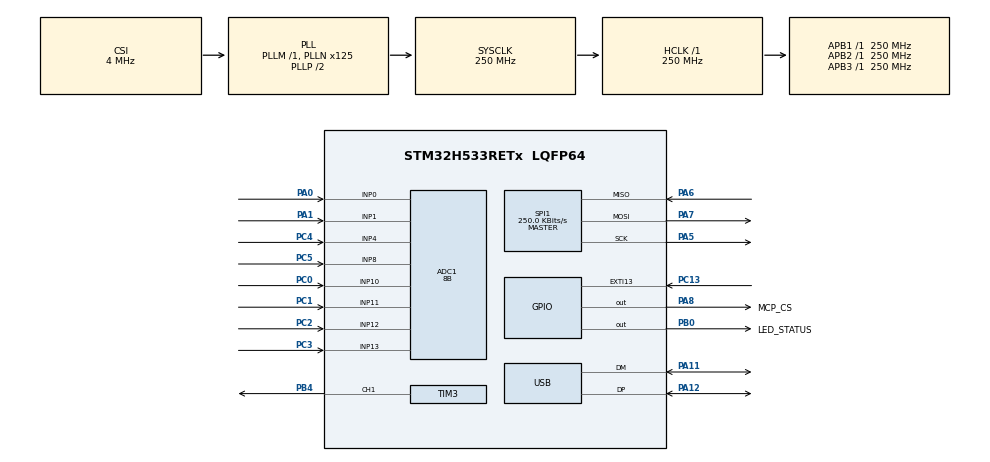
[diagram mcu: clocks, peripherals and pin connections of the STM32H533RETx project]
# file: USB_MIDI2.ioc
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ADC1.Channel-0\#ChannelRegularConversion=ADC_CHANNEL_0
ADC1.Channel-1\#ChannelRegularConversion=ADC_CHANNEL_1
ADC1.Channel-2\#ChannelRegularConversion=ADC_CHANNEL_4
ADC1.Channel-3\#ChannelRegularConversion=ADC_CHANNEL_8
ADC1.Channel-4\#ChannelRegularConversion=ADC_CHANNEL_10
ADC1.Channel-5\#ChannelRegularConversion=ADC_CHANNEL_11
ADC1.Channel-6\#ChannelRegularConversion=ADC_CHANNEL_12
ADC1.Channel-7\#ChannelRegularConversion=ADC_CHANNEL_13
ADC1.DMAContinuousRequests=ENABLE
ADC1.ExternalTrigConv=ADC_EXTERNALTRIG_T6_TRGO
ADC1.MonitoredBy-0\#ChannelRegularConversion=__NULL
ADC1.MonitoredBy-1\#ChannelRegularConversion=__NULL
ADC1.MonitoredBy-2\#ChannelRegularConversion=__NULL
ADC1.MonitoredBy-3\#ChannelRegularConversion=__NULL
ADC1.MonitoredBy-4\#ChannelRegularConversion=__NULL
ADC1.MonitoredBy-5\#ChannelRegularConversion=__NULL
ADC1.MonitoredBy-6\#ChannelRegularConversion=__NULL
ADC1.MonitoredBy-7\#ChannelRegularConversion=__NULL
ADC1.NbrOfConversion=8
ADC1.NbrOfConversionFlag=1
ADC1.OffsetNumber-0\#ChannelRegularConversion=ADC_OFFSET_NONE
ADC1.OffsetNumber-1\#ChannelRegularConversion=ADC_OFFSET_NONE
ADC1.OffsetNumber-2\#ChannelRegularConversion=ADC_OFFSET_NONE
ADC1.OffsetNumber-3\#ChannelRegularConversion=ADC_OFFSET_NONE
ADC1.OffsetNumber-4\#ChannelRegularConversion=ADC_OFFSET_NONE
ADC1.OffsetNumber-5\#ChannelRegularConversion=ADC_OFFSET_NONE
ADC1.OffsetNumber-6\#ChannelRegularConversion=ADC_OFFSET_NONE
ADC1.OffsetNumber-7\#ChannelRegularConversion=ADC_OFFSET_NONE
ADC1.Rank-0\#ChannelRegularConversion=1
ADC1.Rank-1\#ChannelRegularConversion=2
ADC1.Rank-2\#ChannelRegularConversion=3
ADC1.Rank-3\#ChannelRegularConversion=4
ADC1.Rank-4\#ChannelRegularConversion=5
ADC1.Rank-5\#ChannelRegularConversion=6
ADC1.Rank-6\#ChannelRegularConversion=7
ADC1.Rank-7\#ChannelRegularConversion=8
ADC1.Resolution=ADC_RESOLUTION_8B
ADC1.SamplingTime-0\#ChannelRegularConversion=ADC_SAMPLETIME_24CYCLES_5
ADC1.SamplingTime-1\#ChannelRegularConversion=ADC_SAMPLETIME_24CYCLES_5
ADC1.SamplingTime-2\#ChannelRegularConversion=ADC_SAMPLETIME_24CYCLES_5
ADC1.SamplingTime-3\#ChannelRegularConversion=ADC_SAMPLETIME_24CYCLES_5
ADC1.SamplingTime-4\#ChannelRegularConversion=ADC_SAMPLETIME_24CYCLES_5
ADC1.SamplingTime-5\#ChannelRegularConversion=ADC_SAMPLETIME_24CYCLES_5
ADC1.SamplingTime-6\#ChannelRegularConversion=ADC_SAMPLETIME_24CYCLES_5
ADC1.SamplingTime-7\#ChannelRegularConversion=ADC_SAMPLETIME_24CYCLES_5
ADC1.master=1
BOOTPATH.BootPathName=LEGACY
BOOTPATH.UserSelectedBootPath=LEGACY
CORTEX_M33_NS.userName=CORTEX_M33
GPDMA1.CIRCULARMODE_GPDMACH0=ENABLE
GPDMA1.DESTDATAWIDTH_GPDMACH1=DMA_DEST_DATAWIDTH_HALFWORD
GPDMA1.DESTINC_GPDMACH0=DMA_DINC_INCREMENTED
GPDMA1.DIRECTION_GPDMACH1=DMA_MEMORY_TO_PERIPH
GPDMA1.IPHANDLE_GPDMACH0-SIMPLEREQUEST_GPDMACH0=__NULL
GPDMA1.IPHANDLE_GPDMACH1-SIMPLEREQUEST_GPDMACH1=__NULL
GPDMA1.REQUEST_GPDMACH0=GPDMA1_REQUEST_ADC1
GPDMA1.REQUEST_GPDMACH1=GPDMA1_REQUEST_TIM3_CH1
GPDMA1.SRCDATAWIDTH_GPDMACH1=DMA_SRC_DATAWIDTH_HALFWORD
GPDMA1.SRCINC_GPDMACH1=DMA_SINC_INCREMENTED
Mcu.Family=STM32H5
Mcu.Name=STM32H533RETx
Mcu.Package=LQFP64
NUCLEO-H533RE.BUTTON=1
NUCLEO-H533RE.VCP=true
NVIC.ADC1_IRQn=true\:0\:0\:false\:false\:true\:true\:true\:true
NVIC.EXTI13_IRQn=true\:0\:0\:false\:false\:true\:false\:true\:true
NVIC.GPDMA1_Channel0_IRQn=true\:0\:0\:false\:false\:true\:false\:true\:true
NVIC.GPDMA1_Channel1_IRQn=true\:0\:0\:false\:false\:true\:false\:true\:true
NVIC.PriorityGroup=NVIC_PRIORITYGROUP_4
NVIC.TIM3_IRQn=true\:0\:0\:false\:false\:true\:true\:true\:true
NVIC.TIM6_IRQn=true\:0\:0\:false\:false\:true\:true\:true\:true
NVIC.USB_DRD_FS_IRQn=true\:0\:0\:false\:false\:true\:true\:true\:true
PA0.Signal=ADCx_INP0
PA1.Signal=ADCx_INP1
PA11.Mode=Device
PA11.Signal=USB_DM
PA12.Mode=Device
PA12.Signal=USB_DP
PA13(JTMS/SWDIO).GPIO_Label=SWDIO
PA13(JTMS/SWDIO).Signal=DEBUG_JTMS-SWDIO
PA14(JTCK/SWCLK).GPIO_Label=SWCLK
PA14(JTCK/SWCLK).Signal=DEBUG_JTCK-SWCLK
PA15(JTDI).GPIO_Label=JTDI
PA15(JTDI).Signal=DEBUG_JTDI
PA2.Signal=USART2_TX
PA3.Signal=USART2_RX
PA5.GPIO_Speed=GPIO_SPEED_FREQ_VERY_HIGH
PA5.Mode=Full_Duplex_Master
PA5.Signal=SPI1_SCK
PA6.GPIO_Speed=GPIO_SPEED_FREQ_VERY_HIGH
PA6.Mode=Full_Duplex_Master
PA6.Signal=SPI1_MISO
PA7.GPIO_Speed=GPIO_SPEED_FREQ_VERY_HIGH
PA7.Mode=Full_Duplex_Master
PA7.Signal=SPI1_MOSI
PA8.GPIO_Label=MCP_CS
PA8.GPIO_Speed=GPIO_SPEED_FREQ_HIGH
PA8.PinState=GPIO_PIN_SET
PA8.Signal=GPIO_Output
PB0.GPIO_Label=LED_STATUS
PB0.Signal=GPIO_Output
PB3(JTDO/TRACESWO).GPIO_Label=SWO
PB3(JTDO/TRACESWO).Signal=DEBUG_JTDO-SWO
PB4(NJTRST).Signal=S_TIM3_CH1
PC0.Signal=ADCx_INP10
PC1.Signal=ADCx_INP11
PC13.Signal=GPXTI13
PC2.Signal=ADCx_INP12
PC3.Signal=ADCx_INP13
PC4.Signal=ADCx_INP4
PC5.Signal=ADCx_INP8
ProjectManager.HeapSize=0x200
ProjectManager.StackSize=0x400
ProjectManager.TargetToolchain=MDK-ARM V5.37
RCC.ADCFreq_Value=250000000
RCC.AHBFreq_Value=250000000
RCC.APB1Freq_Value=250000000
RCC.APB1TimFreq_Value=250000000
RCC.APB2Freq_Value=250000000
RCC.APB2TimFreq_Value=250000000
RCC.APB3Freq_Value=250000000
RCC.CSI_VALUE=4000000
RCC.CortexFreq_Value=250000000
RCC.EPOD_VALUE=4000000
RCC.HCLKFreq_Value=250000000
RCC.HSE_VALUE=25000000
RCC.HSI48_VALUE=48000000
RCC.HSI_VALUE=64000000
RCC.LSE_VALUE=32768
RCC.LSIRC_VALUE=32000
RCC.PLL2FRACN=0
RCC.PLL3FRACN=0
RCC.PLLFRACN=0
RCC.PLLN=125
RCC.SPI1CLockSelection=RCC_SPI1CLKSOURCE_CLKP
RCC.SYSCLKFreq_VALUE=250000000
RCC.SYSCLKSource=RCC_SYSCLKSOURCE_PLLCLK
RCC.USBFreq_Value=48000000
RCC.VCOOutputFreq_Value=500000000
SH.ADCx_INP0.0=ADC1_INP0,IN0-Single-Ended
SH.ADCx_INP1.0=ADC1_INP1,IN1-Single-Ended
SH.ADCx_INP10.0=ADC1_INP10,IN10-Single-Ended
SH.ADCx_INP11.0=ADC1_INP11,IN11-Single-Ended
SH.ADCx_INP12.0=ADC1_INP12,IN12-Single-Ended
SH.ADCx_INP13.0=ADC1_INP13,IN13-Single-Ended
SH.ADCx_INP4.0=ADC1_INP4,IN4-Single-Ended
SH.ADCx_INP8.0=ADC1_INP8,IN8-Single-Ended
SH.S_TIM3_CH1.0=TIM3_CH1,PWM Generation1 CH1
SPI1.BaudRatePrescaler=SPI_BAUDRATEPRESCALER_128
SPI1.CalculateBaudRate=250.0 KBits/s
SPI1.DataSize=SPI_DATASIZE_8BIT
SPI1.Direction=SPI_DIRECTION_2LINES
SPI1.Mode=SPI_MODE_MASTER
SPI1.NSSPMode=SPI_NSS_PULSE_DISABLE
SPI1.VirtualType=VM_MASTER
TIM3.Channel-PWM\ Generation1\ CH1=TIM_CHANNEL_1
TIM3.PeriodNoDither=312
TIM6.PeriodNoDither=999
TIM6.Prescaler=249
TIM6.TIM_MasterOutputTrigger=TIM_TRGO_UPDATE
USB.VirtualMode=Device_Only
VP_BOOTPATH_VS_BOOTPATH.Mode=BP_Activate
VP_CORTEX_M33_NS_VS_Hclk.Mode=Hclk_Mode
VP_GPDMA1_VS_GPDMACH0.Mode=SIMPLEREQUEST_GPDMACH0
VP_GPDMA1_VS_GPDMACH1.Mode=SIMPLEREQUEST_GPDMACH1
VP_MEMORYMAP_VS_MEMORYMAP.Mode=CurAppReg
VP_NUCLEO-H533RE_VS_BSP_COMMON.Mode=COMMON
VP_PWR_VS_LPOM.Mode=PowerOptimisation
VP_PWR_VS_SECSignals.Mode=Security/Privilege
VP_TIM3_VS_ClockSourceINT.Mode=Internal
VP_TIM6_VS_ClockSourceINT.Mode=Enable_Timer
board=NUCLEO-H533RE

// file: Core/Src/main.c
/* USER CODE BEGIN Header */
/**
  ******************************************************************************
  * @file           : main.c
  * @brief          : Main program body
  ******************************************************************************
  * @attention
  *
  * Copyright (c) 2026 STMicroelectronics.
  * All rights reserved.
  *
  * This software is licensed under terms that can be found in the LICENSE file
  * in the root directory of this software component.
  * If no LICENSE file comes with this software, it is provided AS-IS.
  *
  ******************************************************************************
  */
/* USER CODE END Header */
#include "main.h"

/* USER CODE BEGIN Includes */
#include "tusb.h"
/* USER CODE END Includes */

/* USER CODE BEGIN PD */
// MCP23S17 SPI opcodes (hardware address 0b000)
#define MCP_WRITE_OP    0x40
#define MCP_READ_OP     0x41
// MCP23S17 registers (BANK=0 default)
#define MCP_IODIRA      0x00
#define MCP_IODIRB      0x01
#define MCP_GPPUB       0x0D
#define MCP_OLATA       0x14
#define MCP_GPIOB       0x13
#define SPI_TIMEOUT     2
// MIDI
#define MIDI_CHANNEL    0
#define MIDI_NOTE_BASE  60

// ADC Potentiometers (Fase 2 & Uitbreiding)
#define NUM_POTS       8    // <-- Aangepast van 2 naar 8
#define MIDI_CC_START  16   // Eerste CC nummer (dit wordt CC16 t/m CC23)
#define HYSTERESIS     4    // Jitter filter
#define DEADZONE_LOW   20   // Nog forser verhoogd: alles hieronder is gegarandeerd 0
#define DEADZONE_HIGH  240  // Ruwe waarde (0-255) erboven wordt 255
/* USER CODE END PD */

COM_InitTypeDef BspCOMInit;
ADC_HandleTypeDef hadc1;
DMA_NodeTypeDef Node_GPDMA1_Channel0;
DMA_QListTypeDef List_GPDMA1_Channel0;
DMA_HandleTypeDef handle_GPDMA1_Channel0;

SPI_HandleTypeDef hspi1;

TIM_HandleTypeDef htim3;
TIM_HandleTypeDef htim6;
DMA_HandleTypeDef handle_GPDMA1_Channel1;

PCD_HandleTypeDef hpcd_USB_DRD_FS;

/* USER CODE BEGIN PV */
/* Previous button state for each of the 16 matrix keys (used for edge detection) */
static uint8_t matrix_prev[16] = {0};

/* ADC Buffer - automatically updated by DMA */
volatile uint32_t adc_buffer[16]; // Extra groot en 32-bit gemaakt om RAM overflow & random MIDI fouten the voorkomen!
uint8_t last_midi_value[NUM_POTS] = {0};

/* WS2812 / SK6812 LED variables */
#define MAX_LED 16
#define USE_BRIGHTNESS 0

uint8_t LED_Data[MAX_LED][4];
uint8_t LED_Mod[MAX_LED][4];

uint16_t pwmData[(24*MAX_LED)+50];
volatile int datasentflag = 1;
/* USER CODE END PV */

void SystemClock_Config(void);
void PeriphCommonClock_Config(void);
static void MX_GPIO_Init(void);
static void MX_GPDMA1_Init(void);
static void MX_SPI1_Init(void);
static void MX_ADC1_Init(void);
static void MX_TIM6_Init(void);
static void MX_USB_PCD_Init(void);
static void MX_TIM3_Init(void);
/* USER CODE BEGIN PFP */
void midi_note_on(uint8_t note, uint8_t velocity);
void midi_note_off(uint8_t note);
void mcp_write(uint8_t reg, uint8_t val);
uint8_t mcp_read(uint8_t reg);
void mcp_init(void);
void scan_matrix(void);

void ADC_Start(void);
void process_potentiometers(void);

void Set_LED(int LEDnum, int Red, int Green, int Blue);
void WS2812_Send(void);
/* USER CODE END PFP */

/* USER CODE BEGIN 0 */

void ADC_Start(void) {
    HAL_TIM_Base_Start(&htim6);
    /* OPMERKING: GPDMA streamt naar adc_buffer. Cast is uint32_t omdat de HAL functie dit vereist.
       Maar onze buffer was 8-bit, terwijl DMA misschien HalfWord is in CubeMX?
       Als dit fout gaat, controleer DMA breedte voor ADC! */
    HAL_ADC_Start_DMA(&hadc1, (uint32_t*)adc_buffer, NUM_POTS);
}

void process_potentiometers(void) {
    for (int i = 0; i < NUM_POTS; i++) {
        uint16_t raw_val = adc_buffer[i] & 0xFFFF; // Mask alles boven 16-bit af voor de zekerheid

        // Pas deadzones en mapping toe om te zorgen dat elke slider altijd perfect van 0 tot 255 gaat
        if (raw_val <= DEADZONE_LOW) {
            raw_val = 0;
        } else if (raw_val >= DEADZONE_HIGH) {
            raw_val = 255;
        } else {
            raw_val = ((raw_val - DEADZONE_LOW) * 255) / (DEADZONE_HIGH - DEADZONE_LOW);
        }

        uint8_t new_value = raw_val >> 1; // 8-bit naar 7-bit (0 tot 127)

        // Als we in the dode zones zitten forceer update om zeker op 0 te vallen initialisatie.
        int16_t diff = (int16_t)new_value - (int16_t)last_midi_value[i];
        if (diff < 0) diff = -diff;

        // Als we verschil detecteren *OF* de potmeter staat effectief en stabiel op 0 en had hier nog niet naartoe geupdate
        if (diff >= HYSTERESIS || (new_value == 0 && last_midi_value[i] != 0)) {

            // kleine safety check: door de hysteresis kon een waarde "1" of "2" genegeerd zijn in vorige stap
            if (new_value != last_midi_value[i]){
                if (tud_midi_mounted()) {
                    uint8_t msg[3] = { 0xB0, MIDI_CC_START + i, new_value };
                    tud_midi_stream_write(0, msg, 3);
                }
                last_midi_value[i] = new_value;
            }
        }
    }
}

/* Set LED color values (Red, Green, Blue from 0-255) */
void Set_LED(int LEDnum, int Red, int Green, int Blue)
{
    LED_Data[LEDnum][0] = LEDnum;
    LED_Data[LEDnum][1] = Green; // SK6812 is GRB or RGB, depending on exactly which variant, GRB is most common
    LED_Data[LEDnum][2] = Red;
    LED_Data[LEDnum][3] = Blue;
}

/* Generate PWM data and start DMA transfer */
void WS2812_Send(void)
{
    uint32_t indx = 0;
    uint32_t color;

    for (int i = 0; i < MAX_LED; i++)
    {
#if USE_BRIGHTNESS
        color = ((LED_Mod[i][1] << 16) | (LED_Mod[i][2] << 8) | (LED_Mod[i][3]));
#else
        color = ((LED_Data[i][1] << 16) | (LED_Data[i][2] << 8) | (LED_Data[i][3]));
#endif
        for (int j = 23; j >= 0; j--)
        {
            // Omdat ARR 312 is:
            // "1" = 2/3 * 312 ≈ 208
            // "0" = 1/3 * 312 ≈ 104
            if (color & (1 << j)) {
                pwmData[indx] = 208;
            } else {
                pwmData[indx] = 104;
            }
            indx++;
        }
    }

    // Voeg de RESET code (minimaal 50us low = 50 0'en bij 800kHz is safe) toe
    for (int i = 0; i < 50; i++)
    {
        pwmData[indx] = 0;
        indx++;
    }

    // Start de DMA, zet de flag dicht totdat de PulseFinished callback hem weer open zet
    datasentflag = 0;
    HAL_TIM_PWM_Start_DMA(&htim3, TIM_CHANNEL_1, (uint32_t *)pwmData, indx);

    // Optioneel: wachten tot de data verstuurd is (blokkerend, maar handig voor de eerste test)
    while (!datasentflag){}
}

/* Send a MIDI Note On message on the configured channel */
void midi_note_on(uint8_t note, uint8_t velocity)
{
  uint8_t msg[3] = { (uint8_t)(0x90 | MIDI_CHANNEL), note, velocity };
  tud_midi_stream_write(0, msg, 3);
}

/* Send a MIDI Note Off message on the configured channel */
void midi_note_off(uint8_t note)
{
  uint8_t msg[3] = { (uint8_t)(0x80 | MIDI_CHANNEL), note, 0 };
  tud_midi_stream_write(0, msg, 3);
}

/* Write a single register on the MCP23S17 via SPI */
void mcp_write(uint8_t reg, uint8_t val)
{
  uint8_t tx[3] = { MCP_WRITE_OP, reg, val };
  HAL_GPIO_WritePin(MCP_CS_GPIO_Port, MCP_CS_Pin, GPIO_PIN_RESET);
  HAL_SPI_Transmit(&hspi1, tx, 3, SPI_TIMEOUT);
  HAL_GPIO_WritePin(MCP_CS_GPIO_Port, MCP_CS_Pin, GPIO_PIN_SET);
}

/* Read a single register from the MCP23S17 via SPI */
uint8_t mcp_read(uint8_t reg)
{
  uint8_t tx[3] = { MCP_READ_OP, reg, 0x00 };
  uint8_t rx[3] = { 0, 0, 0 };
  HAL_GPIO_WritePin(MCP_CS_GPIO_Port, MCP_CS_Pin, GPIO_PIN_RESET);
  HAL_SPI_TransmitReceive(&hspi1, tx, rx, 3, SPI_TIMEOUT);
  HAL_GPIO_WritePin(MCP_CS_GPIO_Port, MCP_CS_Pin, GPIO_PIN_SET);
  return rx[2];
}

/* Configure the MCP23S17: PORTA as outputs (columns), PORTB as inputs with pull-ups (rows) */
void mcp_init(void)
{
  mcp_write(MCP_IODIRA, 0x00);  // PORTA = all outputs (columns)
  mcp_write(MCP_IODIRB, 0xFF);  // PORTB = all inputs (rows)
  mcp_write(MCP_GPPUB,  0x0F);  // enable pull-ups on GPB0-3
  mcp_write(MCP_OLATA,  0xFF);  // all columns HIGH (idle state)
}

/* Scan the 4x4 key matrix and send MIDI Note On/Off messages on state changes */
void scan_matrix(void)
{
  // Wait until USB is mounted before sending MIDI
  if (!tud_mounted()) return;

  // Rate-limit scan to every 5 ms
  static uint32_t last_scan = 0;
  uint32_t now = HAL_GetTick();
  if (now - last_scan < 5) return;
  last_scan = now;

  // Drain any incoming MIDI packets
  uint8_t packet[4];
  while (tud_midi_available()) tud_midi_packet_read(packet);

  // -- NIEUW: als we wachten op DMA of de LED is aan het blokkeren, scan dan nog NIET om MIDI misfits te vermijden --
  if (datasentflag == 0) return;

  // Scan each column
  for (uint8_t col = 0; col < 4; col++)
  {
    // Drive this column LOW, all others HIGH
    mcp_write(MCP_OLATA, (uint8_t)(~(1u << col)) & 0x0F);

    // Short settle (~1 us at 32 MHz)
    for (int i = 0; i < 32; i++) __NOP();

    // Read row inputs (active LOW = pressed)
    uint8_t rows = mcp_read(MCP_GPIOB) & 0x0F;

    // Restore all columns HIGH
    mcp_write(MCP_OLATA, 0xFF);

    // --- DE-BOUNCE: als we bezig zijn met LED updaten, skip MIDI logic even ---
    if (datasentflag == 0) return;

    for (uint8_t row = 0; row < 4; row++)
    {
      uint8_t btn     = (uint8_t)(row * 4 + col);
      uint8_t pressed = !(rows & (1u << row));

      if (pressed && !matrix_prev[btn])
      {
        midi_note_on((uint8_t)(MIDI_NOTE_BASE + btn), 100);
        HAL_GPIO_WritePin(GPIOB, GPIO_PIN_0, GPIO_PIN_SET);

        // --- EXTRA: Laat de bijbehorende LED oplichten afhankelijk van welke knop is ingedrukt ---
        Set_LED(btn, 10 + (btn * 10), 0, 50); // R en B variëren
        WS2812_Send();
      }
      else if (!pressed && matrix_prev[btn])
      {
        midi_note_off((uint8_t)(MIDI_NOTE_BASE + btn));
        HAL_GPIO_WritePin(GPIOB, GPIO_PIN_0, GPIO_PIN_RESET);

        // --- EXTRA: Zet de bijbehorende LED weer uit nadat knop wordt losgelaten ---
        Set_LED(btn, 0, 0, 0);
        WS2812_Send();
      }
      matrix_prev[btn] = pressed;
    }
  }
}
/* USER CODE END 0 */

int main(void)
{

  /* MCU Configuration--------------------------------------------------------*/

  /* Reset of all peripherals, Initializes the Flash interface and the Systick. */
  HAL_Init();

  /* Configure the system clock */
  SystemClock_Config();

  /* Configure the peripherals common clocks */
  PeriphCommonClock_Config();

  /* USER CODE BEGIN SysInit */
  /* PB4 is by default NJTRST (JTAG) and has a pull-up resistor causing the SK6812 to glitch green!
     Force PB4 to a standard output LOW instantly to kill the floating/pullup voltage.
     Later MX_TIM3_Init will cleanly override this to Alternate Function PWM. */
  __HAL_RCC_GPIOB_CLK_ENABLE();
  {
    GPIO_InitTypeDef pb4 = {0};
    pb4.Pin   = GPIO_PIN_4;
    pb4.Mode  = GPIO_MODE_OUTPUT_PP;
    pb4.Pull  = GPIO_NOPULL;
    pb4.Speed = GPIO_SPEED_FREQ_LOW;
    HAL_GPIO_Init(GPIOB, &pb4);
    HAL_GPIO_WritePin(GPIOB, GPIO_PIN_4, GPIO_PIN_RESET);
  }

  /* Initialize LED_STATUS (PB0) - LED turns on when a button is pressed */
  {
    GPIO_InitTypeDef gi = {0};
    gi.Pin   = GPIO_PIN_0;
    gi.Mode  = GPIO_MODE_OUTPUT_PP;
    gi.Pull  = GPIO_NOPULL;
    gi.Speed = GPIO_SPEED_FREQ_LOW;
    HAL_GPIO_Init(GPIOB, &gi);
  }
  /* USER CODE END SysInit */

  /* Initialize all configured peripherals */
  MX_GPIO_Init();
  MX_GPDMA1_Init();
  MX_SPI1_Init();
  MX_ADC1_Init();
  MX_TIM6_Init();
  MX_USB_PCD_Init();
  MX_TIM3_Init();
  /* USER CODE BEGIN 2 */
  /* Initialize MCP23S17 I/O expander before USB starts */
  mcp_init();

  /* Start the tinyUSB device stack */
  tusb_init();

  /* Start ADC and Timer for Potentiometer */
  ADC_Start();

  /* Geef spanningen (5V USB rail) rustig de tijd om de chip 100% operationeel te maken */
  HAL_Delay(500);

  /* Forceer UIT meerdere keren voor de zekerheid */
  for(int k=0; k<MAX_LED; k++) { Set_LED(k, 0, 0, 0); }
  for(int i=0; i<3; i++) {
      WS2812_Send();
      HAL_Delay(5);
  }
  /* USER CODE END 2 */

  /* Initialize USER push-button, will be used to trigger an interrupt each time it's pressed.*/
  BSP_PB_Init(BUTTON_USER, BUTTON_MODE_EXTI);

  /* Initialize COM1 port (115200, 8 bits (7-bit data + 1 stop bit), no parity */
  BspCOMInit.BaudRate   = 115200;
  BspCOMInit.WordLength = COM_WORDLENGTH_8B;
  BspCOMInit.StopBits   = COM_STOPBITS_1;
  BspCOMInit.Parity     = COM_PARITY_NONE;
  BspCOMInit.HwFlowCtl  = COM_HWCONTROL_NONE;
  if (BSP_COM_Init(COM1, &BspCOMInit) != BSP_ERROR_NONE)
  {
    Error_Handler();
  }

  /* Infinite loop */
  /* USER CODE BEGIN WHILE */
  while (1)
  {
    // tinyUSB device task
    tud_task();

    // Scan 4x4 matrix via MCP23S17
    scan_matrix();

    // Process potentiometer values for MIDI CC
    process_potentiometers();

    /* USER CODE END WHILE */

  }
}

void SystemClock_Config(void)
{
  RCC_OscInitTypeDef RCC_OscInitStruct = {0};
  RCC_ClkInitTypeDef RCC_ClkInitStruct = {0};

  /** Configure the main internal regulator output voltage
  */
  __HAL_PWR_VOLTAGESCALING_CONFIG(PWR_REGULATOR_VOLTAGE_SCALE0);

  while(!__HAL_PWR_GET_FLAG(PWR_FLAG_VOSRDY)) {}

  /** Initializes the RCC Oscillators according to the specified parameters
  * in the RCC_OscInitTypeDef structure.
  */
  RCC_OscInitStruct.OscillatorType = RCC_OSCILLATORTYPE_HSI48|RCC_OSCILLATORTYPE_HSI
                              |RCC_OSCILLATORTYPE_CSI;
  RCC_OscInitStruct.HSIState = RCC_HSI_ON;
  RCC_OscInitStruct.HSIDiv = RCC_HSI_DIV2;
  RCC_OscInitStruct.HSICalibrationValue = RCC_HSICALIBRATION_DEFAULT;
  RCC_OscInitStruct.HSI48State = RCC_HSI48_ON;
  RCC_OscInitStruct.CSIState = RCC_CSI_ON;
  RCC_OscInitStruct.CSICalibrationValue = RCC_CSICALIBRATION_DEFAULT;
  RCC_OscInitStruct.PLL.PLLState = RCC_PLL_ON;
  RCC_OscInitStruct.PLL.PLLSource = RCC_PLL1_SOURCE_CSI;
  RCC_OscInitStruct.PLL.PLLM = 1;
  RCC_OscInitStruct.PLL.PLLN = 125;
  RCC_OscInitStruct.PLL.PLLP = 2;
  RCC_OscInitStruct.PLL.PLLQ = 2;
  RCC_OscInitStruct.PLL.PLLR = 2;
  RCC_OscInitStruct.PLL.PLLRGE = RCC_PLL1_VCIRANGE_2;
  RCC_OscInitStruct.PLL.PLLVCOSEL = RCC_PLL1_VCORANGE_WIDE;
  RCC_OscInitStruct.PLL.PLLFRACN = 0;
  if (HAL_RCC_OscConfig(&RCC_OscInitStruct) != HAL_OK)
  {
    Error_Handler();
  }

  /** Initializes the CPU, AHB and APB buses clocks
  */
  RCC_ClkInitStruct.ClockType = RCC_CLOCKTYPE_HCLK|RCC_CLOCKTYPE_SYSCLK
                              |RCC_CLOCKTYPE_PCLK1|RCC_CLOCKTYPE_PCLK2
                              |RCC_CLOCKTYPE_PCLK3;
  RCC_ClkInitStruct.SYSCLKSource = RCC_SYSCLKSOURCE_PLLCLK;
  RCC_ClkInitStruct.AHBCLKDivider = RCC_SYSCLK_DIV1;
  RCC_ClkInitStruct.APB1CLKDivider = RCC_HCLK_DIV1;
  RCC_ClkInitStruct.APB2CLKDivider = RCC_HCLK_DIV1;
  RCC_ClkInitStruct.APB3CLKDivider = RCC_HCLK_DIV1;

  if (HAL_RCC_ClockConfig(&RCC_ClkInitStruct, FLASH_LATENCY_5) != HAL_OK)
  {
    Error_Handler();
  }

  /** Configure the programming delay
  */
  __HAL_FLASH_SET_PROGRAM_DELAY(FLASH_PROGRAMMING_DELAY_2);
}

void PeriphCommonClock_Config(void)
{
  RCC_PeriphCLKInitTypeDef PeriphClkInitStruct = {0};

  /** Initializes the peripherals clock
  */
  PeriphClkInitStruct.PeriphClockSelection = RCC_PERIPHCLK_CKPER;
  PeriphClkInitStruct.CkperClockSelection = RCC_CLKPSOURCE_HSI;
  if (HAL_RCCEx_PeriphCLKConfig(&PeriphClkInitStruct) != HAL_OK)
  {
    Error_Handler();
  }
}

static void MX_ADC1_Init(void)
{

  ADC_ChannelConfTypeDef sConfig = {0};

  /** Common config
  */
  hadc1.Instance = ADC1;
  hadc1.Init.ClockPrescaler = ADC_CLOCK_ASYNC_DIV4;
  hadc1.Init.Resolution = ADC_RESOLUTION_8B;
  hadc1.Init.DataAlign = ADC_DATAALIGN_RIGHT;
  hadc1.Init.ScanConvMode = ADC_SCAN_ENABLE;
  hadc1.Init.EOCSelection = ADC_EOC_SINGLE_CONV;
  hadc1.Init.LowPowerAutoWait = DISABLE;
  hadc1.Init.ContinuousConvMode = DISABLE;
  hadc1.Init.NbrOfConversion = 8;
  hadc1.Init.DiscontinuousConvMode = DISABLE;
  hadc1.Init.ExternalTrigConv = ADC_EXTERNALTRIG_T6_TRGO;
  hadc1.Init.ExternalTrigConvEdge = ADC_EXTERNALTRIGCONVEDGE_RISING;
  hadc1.Init.DMAContinuousRequests = ENABLE;
  hadc1.Init.SamplingMode = ADC_SAMPLING_MODE_NORMAL;
  hadc1.Init.Overrun = ADC_OVR_DATA_PRESERVED;
  hadc1.Init.OversamplingMode = DISABLE;
  if (HAL_ADC_Init(&hadc1) != HAL_OK)
  {
    Error_Handler();
  }

  /** Configure Regular Channel
  */
  sConfig.Channel = ADC_CHANNEL_0;
  sConfig.Rank = ADC_REGULAR_RANK_1;
  sConfig.SamplingTime = ADC_SAMPLETIME_24CYCLES_5;
  sConfig.SingleDiff = ADC_SINGLE_ENDED;
  sConfig.OffsetNumber = ADC_OFFSET_NONE;
  sConfig.Offset = 0;
  if (HAL_ADC_ConfigChannel(&hadc1, &sConfig) != HAL_OK)
  {
    Error_Handler();
  }

  /** Configure Regular Channel
  */
  sConfig.Channel = ADC_CHANNEL_1;
  sConfig.Rank = ADC_REGULAR_RANK_2;
  if (HAL_ADC_ConfigChannel(&hadc1, &sConfig) != HAL_OK)
  {
    Error_Handler();
  }

  /** Configure Regular Channel
  */
  sConfig.Channel = ADC_CHANNEL_4;
  sConfig.Rank = ADC_REGULAR_RANK_3;
  if (HAL_ADC_ConfigChannel(&hadc1, &sConfig) != HAL_OK)
  {
    Error_Handler();
  }

  /** Configure Regular Channel
  */
  sConfig.Channel = ADC_CHANNEL_8;
  sConfig.Rank = ADC_REGULAR_RANK_4;
  if (HAL_ADC_ConfigChannel(&hadc1, &sConfig) != HAL_OK)
  {
    Error_Handler();
  }

  /** Configure Regular Channel
  */
  sConfig.Channel = ADC_CHANNEL_10;
  sConfig.Rank = ADC_REGULAR_RANK_5;
  if (HAL_ADC_ConfigChannel(&hadc1, &sConfig) != HAL_OK)
  {
    Error_Handler();
  }

  /** Configure Regular Channel
  */
  sConfig.Channel = ADC_CHANNEL_11;
  sConfig.Rank = ADC_REGULAR_RANK_6;
  if (HAL_ADC_ConfigChannel(&hadc1, &sConfig) != HAL_OK)
  {
    Error_Handler();
  }

  /** Configure Regular Channel
  */
  sConfig.Channel = ADC_CHANNEL_12;
  sConfig.Rank = ADC_REGULAR_RANK_7;
  if (HAL_ADC_ConfigChannel(&hadc1, &sConfig) != HAL_OK)
  {
    Error_Handler();
  }

  /** Configure Regular Channel
  */
  sConfig.Channel = ADC_CHANNEL_13;
  sConfig.Rank = ADC_REGULAR_RANK_8;
  if (HAL_ADC_ConfigChannel(&hadc1, &sConfig) != HAL_OK)
  {
    Error_Handler();
  }

}

static void MX_GPDMA1_Init(void)
{

  /* Peripheral clock enable */
  __HAL_RCC_GPDMA1_CLK_ENABLE();

  /* GPDMA1 interrupt Init */
    HAL_NVIC_SetPriority(GPDMA1_Channel0_IRQn, 0, 0);
    HAL_NVIC_EnableIRQ(GPDMA1_Channel0_IRQn);
    HAL_NVIC_SetPriority(GPDMA1_Channel1_IRQn, 0, 0);
    HAL_NVIC_EnableIRQ(GPDMA1_Channel1_IRQn);

}

static void MX_SPI1_Init(void)
{

  /* SPI1 parameter configuration*/
  hspi1.Instance = SPI1;
  hspi1.Init.Mode = SPI_MODE_MASTER;
  hspi1.Init.Direction = SPI_DIRECTION_2LINES;
  hspi1.Init.DataSize = SPI_DATASIZE_8BIT;
  hspi1.Init.CLKPolarity = SPI_POLARITY_LOW;
  hspi1.Init.CLKPhase = SPI_PHASE_1EDGE;
  hspi1.Init.NSS = SPI_NSS_SOFT;
  hspi1.Init.BaudRatePrescaler = SPI_BAUDRATEPRESCALER_128;
  hspi1.Init.FirstBit = SPI_FIRSTBIT_MSB;
  hspi1.Init.TIMode = SPI_TIMODE_DISABLE;
  hspi1.Init.CRCCalculation = SPI_CRCCALCULATION_DISABLE;
  hspi1.Init.CRCPolynomial = 0x7;
  hspi1.Init.NSSPMode = SPI_NSS_PULSE_DISABLE;
  hspi1.Init.NSSPolarity = SPI_NSS_POLARITY_LOW;
  hspi1.Init.FifoThreshold = SPI_FIFO_THRESHOLD_01DATA;
  hspi1.Init.MasterSSIdleness = SPI_MASTER_SS_IDLENESS_00CYCLE;
  hspi1.Init.MasterInterDataIdleness = SPI_MASTER_INTERDATA_IDLENESS_00CYCLE;
  hspi1.Init.MasterReceiverAutoSusp = SPI_MASTER_RX_AUTOSUSP_DISABLE;
  hspi1.Init.MasterKeepIOState = SPI_MASTER_KEEP_IO_STATE_DISABLE;
  hspi1.Init.IOSwap = SPI_IO_SWAP_DISABLE;
  hspi1.Init.ReadyMasterManagement = SPI_RDY_MASTER_MANAGEMENT_INTERNALLY;
  hspi1.Init.ReadyPolarity = SPI_RDY_POLARITY_HIGH;
  if (HAL_SPI_Init(&hspi1) != HAL_OK)
  {
    Error_Handler();
  }

}

static void MX_TIM3_Init(void)
{

  TIM_ClockConfigTypeDef sClockSourceConfig = {0};
  TIM_MasterConfigTypeDef sMasterConfig = {0};
  TIM_OC_InitTypeDef sConfigOC = {0};

  htim3.Instance = TIM3;
  htim3.Init.Prescaler = 0;
  htim3.Init.CounterMode = TIM_COUNTERMODE_UP;
  htim3.Init.Period = 312;
  htim3.Init.ClockDivision = TIM_CLOCKDIVISION_DIV1;
  htim3.Init.AutoReloadPreload = TIM_AUTORELOAD_PRELOAD_DISABLE;
  if (HAL_TIM_Base_Init(&htim3) != HAL_OK)
  {
    Error_Handler();
  }
  sClockSourceConfig.ClockSource = TIM_CLOCKSOURCE_INTERNAL;
  if (HAL_TIM_ConfigClockSource(&htim3, &sClockSourceConfig) != HAL_OK)
  {
    Error_Handler();
  }
  if (HAL_TIM_PWM_Init(&htim3) != HAL_OK)
  {
    Error_Handler();
  }
  sMasterConfig.MasterOutputTrigger = TIM_TRGO_RESET;
  sMasterConfig.MasterSlaveMode = TIM_MASTERSLAVEMODE_DISABLE;
  if (HAL_TIMEx_MasterConfigSynchronization(&htim3, &sMasterConfig) != HAL_OK)
  {
    Error_Handler();
  }
  sConfigOC.OCMode = TIM_OCMODE_PWM1;
  sConfigOC.Pulse = 0;
  sConfigOC.OCPolarity = TIM_OCPOLARITY_HIGH;
  sConfigOC.OCFastMode = TIM_OCFAST_DISABLE;
  if (HAL_TIM_PWM_ConfigChannel(&htim3, &sConfigOC, TIM_CHANNEL_1) != HAL_OK)
  {
    Error_Handler();
  }
  HAL_TIM_MspPostInit(&htim3);

}

static void MX_TIM6_Init(void)
{

  TIM_MasterConfigTypeDef sMasterConfig = {0};

  htim6.Instance = TIM6;
  htim6.Init.Prescaler = 249;
  htim6.Init.CounterMode = TIM_COUNTERMODE_UP;
  htim6.Init.Period = 999;
  htim6.Init.AutoReloadPreload = TIM_AUTORELOAD_PRELOAD_DISABLE;
  if (HAL_TIM_Base_Init(&htim6) != HAL_OK)
  {
    Error_Handler();
  }
  sMasterConfig.MasterOutputTrigger = TIM_TRGO_UPDATE;
  sMasterConfig.MasterSlaveMode = TIM_MASTERSLAVEMODE_DISABLE;
  if (HAL_TIMEx_MasterConfigSynchronization(&htim6, &sMasterConfig) != HAL_OK)
  {
    Error_Handler();
  }

}

static void MX_USB_PCD_Init(void)
{

  hpcd_USB_DRD_FS.Instance = USB_DRD_FS;
  hpcd_USB_DRD_FS.Init.dev_endpoints = 8;
  hpcd_USB_DRD_FS.Init.speed = USBD_FS_SPEED;
  hpcd_USB_DRD_FS.Init.phy_itface = PCD_PHY_EMBEDDED;
  hpcd_USB_DRD_FS.Init.Sof_enable = DISABLE;
  hpcd_USB_DRD_FS.Init.low_power_enable = DISABLE;
  hpcd_USB_DRD_FS.Init.lpm_enable = DISABLE;
  hpcd_USB_DRD_FS.Init.battery_charging_enable = DISABLE;
  hpcd_USB_DRD_FS.Init.vbus_sensing_enable = DISABLE;
  hpcd_USB_DRD_FS.Init.bulk_doublebuffer_enable = DISABLE;
  hpcd_USB_DRD_FS.Init.iso_singlebuffer_enable = DISABLE;
  if (HAL_PCD_Init(&hpcd_USB_DRD_FS) != HAL_OK)
  {
    Error_Handler();
  }

}

static void MX_GPIO_Init(void)
{
  GPIO_InitTypeDef GPIO_InitStruct = {0};

  /* GPIO Ports Clock Enable */
  __HAL_RCC_GPIOC_CLK_ENABLE();
  __HAL_RCC_GPIOA_CLK_ENABLE();
  __HAL_RCC_GPIOB_CLK_ENABLE();

  /*Configure GPIO pin Output Level */
  HAL_GPIO_WritePin(LED_STATUS_GPIO_Port, LED_STATUS_Pin, GPIO_PIN_RESET);

  /*Configure GPIO pin Output Level */
  HAL_GPIO_WritePin(MCP_CS_GPIO_Port, MCP_CS_Pin, GPIO_PIN_SET);

  /*Configure GPIO pin : LED_STATUS_Pin */
  GPIO_InitStruct.Pin = LED_STATUS_Pin;
  GPIO_InitStruct.Mode = GPIO_MODE_OUTPUT_PP;
  GPIO_InitStruct.Pull = GPIO_NOPULL;
  GPIO_InitStruct.Speed = GPIO_SPEED_FREQ_LOW;
  HAL_GPIO_Init(LED_STATUS_GPIO_Port, &GPIO_InitStruct);

  /*Configure GPIO pin : MCP_CS_Pin */
  GPIO_InitStruct.Pin = MCP_CS_Pin;
  GPIO_InitStruct.Mode = GPIO_MODE_OUTPUT_PP;
  GPIO_InitStruct.Pull = GPIO_NOPULL;
  GPIO_InitStruct.Speed = GPIO_SPEED_FREQ_HIGH;
  HAL_GPIO_Init(MCP_CS_GPIO_Port, &GPIO_InitStruct);

}

/* USER CODE BEGIN 4 */
void HAL_TIM_PWM_PulseFinishedCallback(TIM_HandleTypeDef *htim)
{
  if (htim->Instance == TIM3) {
    HAL_TIM_PWM_Stop_DMA(&htim3, TIM_CHANNEL_1);
    datasentflag = 1;
  }
}
/* USER CODE END 4 */

void Error_Handler(void)
{
  __disable_irq();
  while (1)
  {
  }
}
